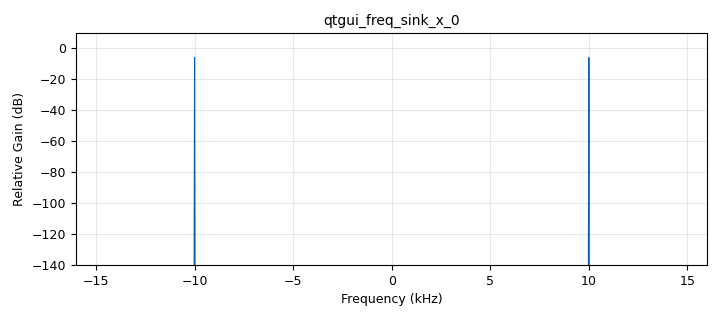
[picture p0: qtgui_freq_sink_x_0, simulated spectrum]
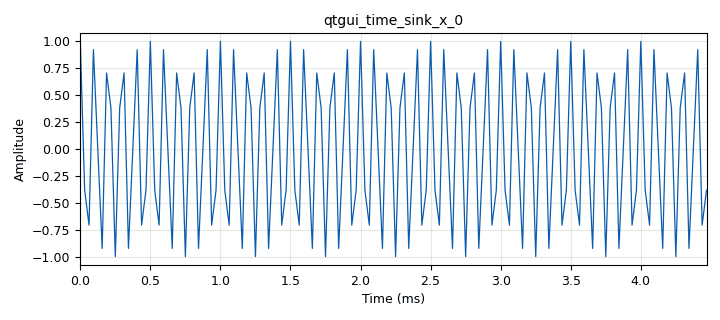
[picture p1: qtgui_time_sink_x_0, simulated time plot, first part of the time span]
options:
  parameters:
    author: mateo
    generate_options: qt_gui
    id: TP11b
    output_language: python
    title: Not titled yet
  states: {}

blocks:
- name: samp_rate
  id: variable
  parameters:
    value: '32000'
  states: {}
- name: analog_sig_source_x_0
  id: analog_sig_source_x
  parameters:
    amp: '1'
    freq: 10e3
    offset: '0'
    phase: '0'
    samp_rate: samp_rate
    type: float
    waveform: analog.GR_COS_WAVE
  states: {}
- name: blocks_throttle_0
  id: blocks_throttle
  parameters:
    samples_per_second: samp_rate
    type: float
  states: {}
- name: qtgui_freq_sink_x_0
  id: qtgui_freq_sink_x
  parameters:
    bw: samp_rate
    fc: '0'
    fftsize: '1024'
    type: float
    wintype: window.WIN_RECTANGULAR
  states: {}
- name: qtgui_time_sink_x_0
  id: qtgui_time_sink_x
  parameters:
    grid: 'True'
    size: '1024'
    srate: samp_rate
    type: float
  states: {}

connections:
- [analog_sig_source_x_0, '0', blocks_throttle_0, '0']
- [blocks_throttle_0, '0', qtgui_freq_sink_x_0, '0']
- [blocks_throttle_0, '0', qtgui_time_sink_x_0, '0']

metadata:
  file_format: 1
  grc_version: 3.10.5.1
